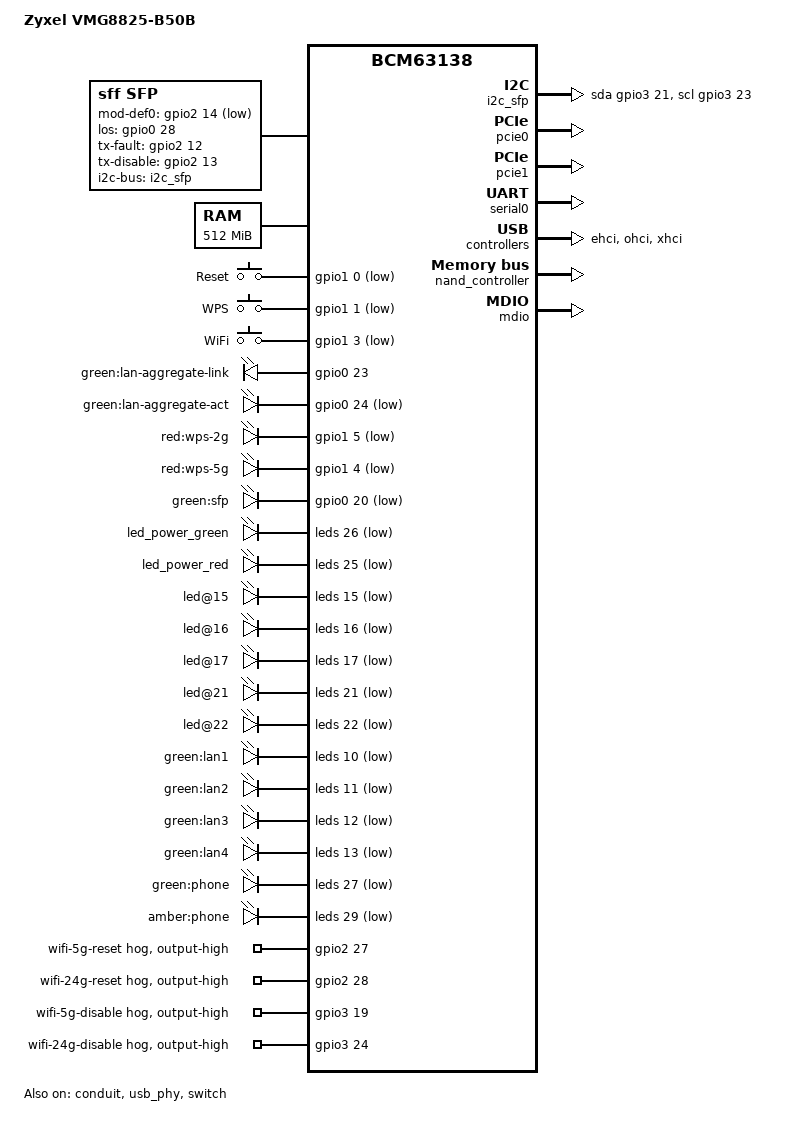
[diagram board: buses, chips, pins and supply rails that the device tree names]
// SPDX-License-Identifier: GPL-2.0-or-later OR MIT

/dts-v1/;

#include <dt-bindings/gpio/gpio.h>
#include <dt-bindings/input/input.h>
#include <dt-bindings/leds/common.h>

#include "bcm63138.dtsi"

/ {
	compatible = "zyxel,vmg8825-b50b", "brcm,bcm63138", "brcm,bcmbca";
	model = "Zyxel VMG8825-B50B";

	aliases {
		led-boot = &led_power_green;
		led-failsafe = &led_power_red;
		led-running = &led_power_green;
		led-upgrade = &led_power_red;
	};

	chosen {
		bootargs = "earlycon console=ttyS0,115200n8 earlyprintk clk_ignore_unused";
		stdout-path = "serial0:115200n8";
	};

	i2c_sfp: i2c-sfp {
		compatible = "i2c-gpio";
		sda-gpios = <&gpio3 21 (GPIO_ACTIVE_HIGH | GPIO_OPEN_DRAIN)>;
		scl-gpios = <&gpio3 23 (GPIO_ACTIVE_HIGH | GPIO_OPEN_DRAIN)>;
		i2c-gpio,delay-us = <2>;
		#address-cells = <1>;
		#size-cells = <0>;
	};

	sfp: sfp {
		compatible = "sff,sfp";
		i2c-bus = <&i2c_sfp>;
		mod-def0-gpios = <&gpio2 14 GPIO_ACTIVE_LOW>;
		los-gpios = <&gpio0 28 GPIO_ACTIVE_HIGH>;
		tx-fault-gpios = <&gpio2 12 GPIO_ACTIVE_HIGH>;
		tx-disable-gpios = <&gpio2 13 GPIO_ACTIVE_HIGH>;
		maximum-power-milliwatt = <2000>;
	};

	reserved-memory {
		#address-cells = <1>;
		#size-cells = <1>;
		ranges;

		runner_reserved: runner-reserved@e000000 {
			reg = <0x0e000000 0x01c00000>;
			no-map;
		};
	};

	memory@0 {
		device_type = "memory";
		reg = <0x00000000 0x20000000>;
	};



	gpio-keys-polled {
		compatible = "gpio-keys-polled";
		poll-interval = <20>;

		key-reset {
			label = "Reset";
			linux,code = <KEY_RESTART>;
			gpios = <&gpio1 0 GPIO_ACTIVE_LOW>;
		};

		key-wps {
			label = "WPS";
			linux,code = <KEY_WPS_BUTTON>;
			gpios = <&gpio1 1 GPIO_ACTIVE_LOW>;
		};

		key-wifi {
			label = "WiFi";
			linux,code = <KEY_RFKILL>;
			gpios = <&gpio1 3 GPIO_ACTIVE_LOW>;
		};
	};

	gpio-leds {
		compatible = "gpio-leds";

		led-lan-aggregate-link {
			label = "green:lan-aggregate-link";
			gpios = <&gpio0 23 GPIO_ACTIVE_HIGH>;
		};

		led-lan-aggregate-act {
			label = "green:lan-aggregate-act";
			gpios = <&gpio0 24 GPIO_ACTIVE_LOW>;
		};

		led-wps-2g {
			label = "red:wps-2g";
			gpios = <&gpio1 5 GPIO_ACTIVE_LOW>;
			default-state = "off";
		};

		led-wps-5g {
			label = "red:wps-5g";
			gpios = <&gpio1 4 GPIO_ACTIVE_LOW>;
			default-state = "off";
		};

		led-sfp {
			label = "green:sfp";
			gpios = <&gpio0 20 GPIO_ACTIVE_LOW>;
			default-state = "off";
		};
	};
};

&leds {
	status = "okay";

	led_power_green: led@26 {
		reg = <26>;
		active-low;
		function = LED_FUNCTION_POWER;
		color = <LED_COLOR_ID_GREEN>;
		default-state = "on";
	};

	led_power_red: led@25 {
		reg = <25>;
		active-low;
		function = LED_FUNCTION_FAULT;
		color = <LED_COLOR_ID_RED>;
		default-state = "off";
	};

	led@15 {
		reg = <15>;
		active-low;
		function = LED_FUNCTION_WAN_ONLINE;
		color = <LED_COLOR_ID_GREEN>;
		default-state = "off";
	};

	led@16 {
		reg = <16>;
		active-low;
		function = LED_FUNCTION_WAN_ONLINE;
		color = <LED_COLOR_ID_RED>;
		default-state = "off";
	};

	led@17 {
		reg = <17>;
		active-low;
		function = "dsl";
		color = <LED_COLOR_ID_GREEN>;
		default-state = "off";
	};

	led@21 {
		reg = <21>;
		active-low;
		function = "dsl";
		color = <LED_COLOR_ID_AMBER>;
		default-state = "off";
	};

	led@22 {
		reg = <22>;
		active-low;
		function = LED_FUNCTION_WAN;
		color = <LED_COLOR_ID_GREEN>;
	};

	led@10 {
		reg = <10>;
		active-low;
		label = "green:lan1";
	};

	led@11 {
		reg = <11>;
		active-low;
		label = "green:lan2";
	};

	led@12 {
		reg = <12>;
		active-low;
		label = "green:lan3";
	};

	led@13 {
		reg = <13>;
		active-low;
		label = "green:lan4";
	};

	led@27 {
		reg = <27>;
		active-low;
		label = "green:phone";
		default-state = "off";
	};

	led@29 {
		reg = <29>;
		active-low;
		label = "amber:phone";
		default-state = "off";
	};
};

&gpio0 {
	status = "okay";
};

&gpio1 {
	status = "okay";
};

&gpio2 {
	status = "okay";

	wifi-5g-reset-hog {
		gpio-hog;
		gpios = <27 GPIO_ACTIVE_HIGH>;
		output-high;
		line-name = "wifi-5g-reset";
	};

	wifi-24g-reset-hog {
		gpio-hog;
		gpios = <28 GPIO_ACTIVE_HIGH>;
		output-high;
		line-name = "wifi-24g-reset";
	};
};

&gpio3 {
	status = "okay";

	wifi-5g-disable-hog {
		gpio-hog;
		gpios = <19 GPIO_ACTIVE_HIGH>;
		output-high;
		line-name = "wifi-5g-disable";
	};

	wifi-24g-disable-hog {
		gpio-hog;
		gpios = <24 GPIO_ACTIVE_HIGH>;
		output-high;
		line-name = "wifi-24g-disable";
	};
};

&gpio4 {
	status = "okay";
};

&pcie0 {
	status = "okay";
};

&pcie1 {
	status = "okay";
};

&serial0 {
	status = "okay";
};

&conduit {
	status = "okay";
};

&usb_phy {
	brcm,ioc = <1>;
	brcm,ipp = <1>;
	status = "okay";
};

&ehci {
	status = "okay";
};

&ohci {
	status = "okay";
};

&xhci {
	status = "okay";
};

&nand_controller {
	status = "okay";
	brcm,wp-not-connected;
};

&nandcs {
	nand-ecc-strength = <4>;
	nand-ecc-step-size = <512>;
	brcm,nand-oob-sector-size = <16>;
	nand-on-flash-bbt;

	partitions {
		compatible = "brcm,bcm4908-partitions";
		#address-cells = <1>;
		#size-cells = <1>;

		partition@0 {
			label = "cferom";
			reg = <0x00000000 0x00020000>;
			read-only;
		};

		partition@20000 {
			compatible = "brcm,bcm4908-firmware";
			label = "firmware";
			reg = <0x00020000 0x0bbe0000>;
		};

		partition@bc00000 {
			compatible = "brcm,bcm4908-firmware";
			label = "firmware_backup";
			reg = <0x0bc00000 0x0bbe0000>;
		};

		partition@177e0000 {
			label = "misc1";
			reg = <0x177e0000 0x08020000>;
		};

		partition@1f800000 {
			label = "romfile";
			reg = <0x1f800000 0x00100000>;
		};

		partition@1f900000 {
			label = "data";
			reg = <0x1f900000 0x00400000>;
		};

		partition@1fd00000 {
			label = "rom-d";
			reg = <0x1fd00000 0x00100000>;
		};

		partition@1fe00000 {
			label = "wwan";
			reg = <0x1fe00000 0x00100000>;
		};
	};
};

&mdio {
	status = "okay";
};

&switch {
	status = "okay";

	ports {
		#address-cells = <1>;
		#size-cells = <0>;

		port@0 {
			reg = <0>;
			label = "lan1";
			phy-mode = "internal";
			phy-handle = <&phy8>;
		};

		port@1 {
			reg = <1>;
			label = "lan2";
			phy-mode = "internal";
			phy-handle = <&phy9>;
		};

		port@2 {
			reg = <2>;
			label = "lan3";
			phy-mode = "internal";
			phy-handle = <&phy10>;
		};

		port@3 {
			reg = <3>;
			label = "lan4";
			phy-mode = "internal";
			phy-handle = <&phy11>;
		};

		port@4 {
			reg = <4>;
			label = "wan";
			phy-mode = "internal";
			phy-handle = <&phy12>;
		};

		port@7 {
			reg = <7>;
			label = "sfp";
			status = "disabled";
		};

		port@8 {
			reg = <8>;
			label = "cpu";
			ethernet = <&conduit>;
			phy-mode = "internal";

			fixed-link {
				speed = <1000>;
				full-duplex;
			};
		};
	};
};
